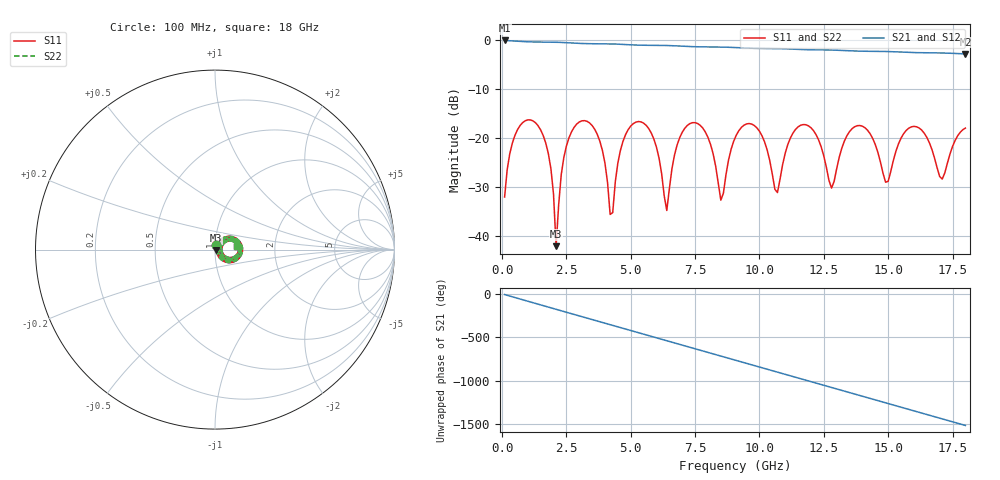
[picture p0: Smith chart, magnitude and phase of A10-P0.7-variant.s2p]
! yapnr rf coupon A: A10 P0.7 (variant, family P0.7)
! stackup JLC04161H-7628, nominal parameters; reference planes 10 mm from each end; 50 ohm (renormalized from the line's Zc)
! model: 2D quasi-static RLGC (Djordjevic-Sarkar, Huray roughness, Wheeler loss); generated by python -m yapnr.rf.coupons expected
# GHz S DB R 50
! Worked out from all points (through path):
!   180 points, 100 MHz to 18 GHz, reference 50 ohm
!   highest |S21| = -0.05 dB at 100 MHz (marker M1); lowest = -2.8 dB at 18 GHz (marker M2)
!   group delay of S21, straight-line fit = 234 ps
!   lowest |S11| = -42.1 dB at 2.1 GHz (marker M3), VSWR 1.02, Z = 50.7 - j0.3 ohm
!   |S11| at or under -10 dB: start of sweep to end of sweep
!   |S22| runs from -42.1 to -16.3 dB; largest |S21 - S12| = 0
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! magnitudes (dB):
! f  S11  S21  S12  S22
! 100 MHz  -32.0  0.0  0.0  -32.0
! 1.3 GHz  -16.9  -0.4  -0.4  -16.9
! 1.9 GHz  -26.3  -0.4  -0.4  -26.3
! 2.1 GHz  -42.1  -0.4  -0.4  -42.1
! 2.4 GHz  -24.0  -0.5  -0.5  -24.0
! 3.1 GHz  -16.5  -0.7  -0.7  -16.5
! 3.8 GHz  -20.6  -0.7  -0.7  -20.6
! 4.2 GHz  -35.6  -0.7  -0.7  -35.6
! 5 GHz  -17.5  -0.9  -0.9  -17.5
! 6.1 GHz  -24.1  -1.1  -1.1  -24.1
! 6.4 GHz  -34.8  -1.1  -1.1  -34.8
! 7.6 GHz  -17.0  -1.3  -1.3  -17.0
! 8.5 GHz  -32.7  -1.4  -1.4  -32.7
! 9.1 GHz  -19.4  -1.5  -1.5  -19.4
! 10.7 GHz  -31.1  -1.7  -1.7  -31.1
! 12.1 GHz  -18.5  -2.0  -2.0  -18.5
! 12.8 GHz  -30.2  -2.0  -2.0  -30.2
! 13.8 GHz  -17.5  -2.2  -2.2  -17.5
! 15.1 GHz  -26.8  -2.3  -2.3  -26.8
! 16 GHz  -17.6  -2.5  -2.5  -17.6
! 17.1 GHz  -28.4  -2.6  -2.6  -28.4
! 18 GHz  -18.0  -2.8  -2.8  -18.0
